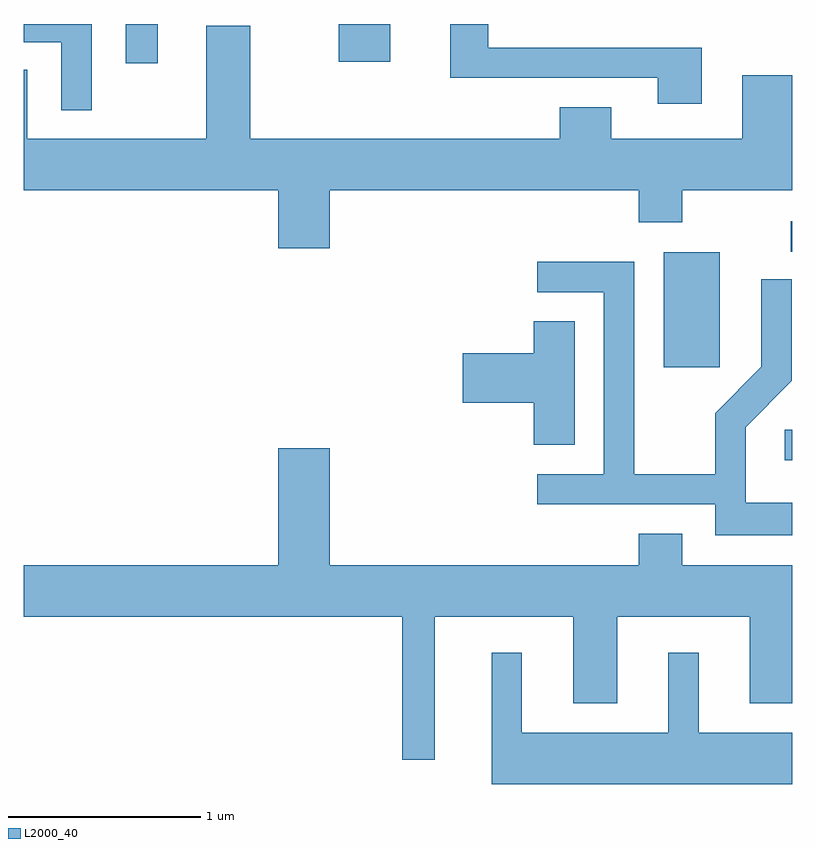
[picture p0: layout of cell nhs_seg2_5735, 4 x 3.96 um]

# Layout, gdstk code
import gdstk
lib = gdstk.Library(unit=1e-6, precision=1e-09)
def R(c, l, rs):  # rectangles x0, y0, x1, y1
    for r in rs: c.add(gdstk.rectangle(r[:2], r[2:], *l))
def P(c, l, *ps):  # polygons
    for p in ps: c.add(gdstk.Polygon(p, *l))
L2000_40 = (2000, 40)

nhs_seg2_5735 = lib.new_cell('nhs_seg2_5735')
R(nhs_seg2_5735, L2000_40, [(357.573,1093.531,357.611,1093.689), (356.941,1094.016,357.234,1094.614), (357.603,1094.616,357.611,1094.774), (354.141,1095.598,354.309,1095.802), (355.251,1095.606,355.519,1095.802)])
P(nhs_seg2_5735, L2000_40, [(353.964,1095.802),(353.611,1095.802),(353.611,1095.706),(353.806,1095.706),(353.806,1095.353),(353.964,1095.353)],
  [(357.139,1095.679),(356.029,1095.679),(356.029,1095.802),(355.831,1095.802),(355.831,1095.521),(356.911,1095.521),(356.911,1095.386),(357.139,1095.386)],
  [(355.204,1094.936),(356.811,1094.936),(356.811,1094.771),(357.039,1094.771),(357.039,1094.936),(357.611,1094.936),(357.611,1095.534),(357.351,1095.534),(357.351,1095.204),(356.669,1095.204),(356.669,1095.369),(356.401,1095.369),(356.401,1095.204),(354.789,1095.204),(354.789,1095.794),(354.561,1095.794),(354.561,1095.204),(353.629,1095.204),(353.629,1095.563),(353.611,1095.563),(353.611,1094.936),(354.936,1094.936),(354.936,1094.636),(355.204,1094.636)],
  [(357.611,1093.309),(357.369,1093.309),(357.369,1093.704),(357.609,1093.944),(357.609,1094.473),(357.451,1094.473),(357.451,1094.017),(357.211,1093.777),(357.211,1093.459),(356.789,1093.459),(356.789,1094.564),(356.283,1094.564),(356.283,1094.406),(356.631,1094.406),(356.631,1093.459),(356.283,1093.459),(356.283,1093.301),(357.211,1093.301),(357.211,1093.141),(357.611,1093.141)],
  [(356.479,1094.254),(356.266,1094.254),(356.266,1094.089),(355.896,1094.089),(355.896,1093.831),(356.266,1093.831),(356.266,1093.611),(356.479,1093.611)],
  [(355.749,1092.716),(356.471,1092.716),(356.471,1092.266),(356.699,1092.266),(356.699,1092.716),(357.391,1092.716),(357.391,1092.266),(357.611,1092.266),(357.611,1092.984),(357.039,1092.984),(357.039,1093.149),(356.811,1093.149),(356.811,1092.984),(355.204,1092.984),(355.204,1093.594),(354.936,1093.594),(354.936,1092.984),(353.611,1092.984),(353.611,1092.716),(355.581,1092.716),(355.581,1091.973),(355.749,1091.973)],
  [(357.611,1092.114),(357.124,1092.114),(357.124,1092.528),(356.966,1092.528),(356.966,1092.114),(356.204,1092.114),(356.204,1092.528),(356.046,1092.528),(356.046,1091.846),(357.611,1091.846)])

lib.write_gds('nhs_seg2_5735.gds')
